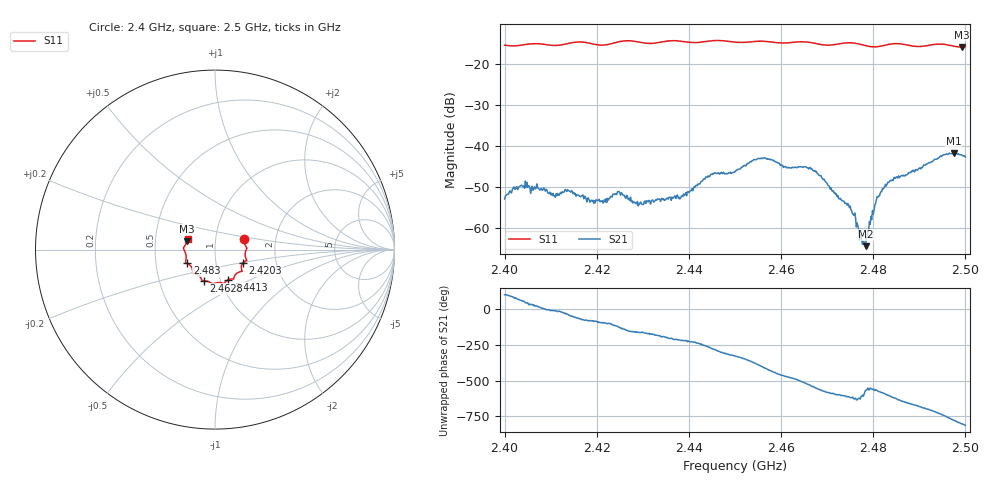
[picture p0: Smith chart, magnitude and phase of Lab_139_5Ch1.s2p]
# Hz S RI R 50
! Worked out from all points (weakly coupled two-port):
!   601 points, 2.4 GHz to 2.5 GHz, reference 50 ohm
!   highest |S21| = -41.71 dB at 2.4975 GHz (marker M1); lowest = -64.5 dB at 2.4783 GHz (marker M2)
!   lowest |S11| = -15.8 dB at 2.4992 GHz (marker M3), VSWR 1.39, Z = 36.4 + j3.53 ohm
!   |S11| at or under -10 dB: start of sweep to end of sweep
!   S12 and S22 are empty: the file has one direction only
!   S11 on the Smith chart (normalised r, x): 2.4 GHz: 1.37, +0.16; 2.4203 GHz: 1.35, -0.21; 2.4413 GHz: 1.09, -0.38; 2.4628 GHz: 0.83, -0.30; 2.483 GHz: 0.72, -0.11; 2.5 GHz: 0.73, +0.09
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2.4e9  0.1611 0.0569  -0.000503 0.00219  0 0  0 0
2.404333e9  0.1727 0.0159  0.00182 0.00243  0 0  0 0
2.416667e9  0.1763 -0.0616  0.000842 -0.0023  0 0  0 0
2.420333e9  0.1554 -0.0742  0.000141 -0.00217  0 0  0 0
2.425e9  0.1503 -0.1151  -0.00164 -0.00209  0 0  0 0
2.428833e9  0.1425 -0.1228  -0.00199 -0.000665  0 0  0 0
2.433333e9  0.1083 -0.1483  -0.00223 7.97e-05  0 0  0 0
2.441333e9  0.0744 -0.1681  -0.00205 0.00235  0 0  0 0
2.445167e9  0.0517 -0.1869  0.000524 0.00456  0 0  0 0
2.45e9  0.0292 -0.1838  0.00402 0.00271  0 0  0 0
2.456e9  -0.012 -0.1905  0.00507 -0.00484  0 0  0 0
2.462833e9  -0.0632 -0.1747  -0.00319 -0.00447  0 0  0 0
2.466667e9  -0.0744 -0.1674  -0.00526 -0.000216  0 0  0 0
2.474667e9  -0.1245 -0.1337  -0.00058 0.0018  0 0  0 0
2.4775e9  -0.1243 -0.1206  -0.000255 0.000656  0 0  0 0
2.478333e9  -0.1249 -0.1129  -0.000531 0.000269  0 0  0 0
2.480833e9  -0.1373 -0.0889  -0.0021 0.00118  0 0  0 0
2.483e9  -0.1549 -0.0767  -0.00176 0.00292  0 0  0 0
2.483333e9  -0.157 -0.0757  -0.00166 0.00317  0 0  0 0
2.4975e9  -0.1639 0.0276  0.0045 -0.00687  0 0  0 0
2.499167e9  -0.1552 0.0472  0.0012 -0.0077  0 0  0 0
2.5e9  -0.1527 0.0585  -0.00038 -0.00729  0 0  0 0
